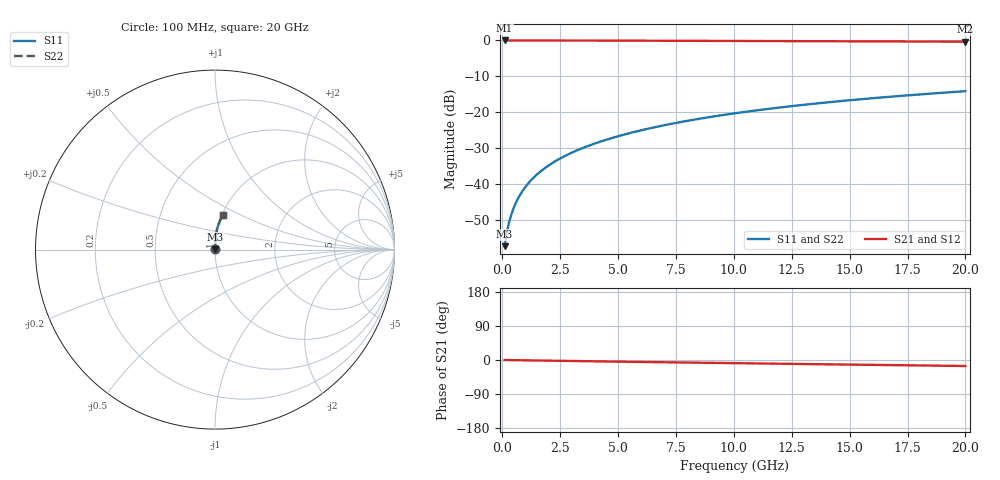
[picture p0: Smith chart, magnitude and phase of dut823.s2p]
! Touchstone file exported from HFSS 2024.1.0
!  File:  C:/UserFiles/LocalFiles/RDL_TSV_Batchsim/temp_RDL_top_823_1779854647.aedt
!  Generated:  12:06:23 PM May 27, 2026
!  Design:  RDL_top
!  Project:  temp_RDL_top_823_1779854647
!  Setup:  Setup1
!  Solution:  Sweep
! Variables:
!  dtsv = 10.80580581um
!  hbump = 3um
!  htsv = 81.91um
!  ldown = 100um
!  lrdl = 162.21um
!  p = 40
!  p1 = 59.29um
!  rhole = 1um
!  t = 450um
!  tdown = 3.915915916um
!  trdl = 3.59um
!  wdown = 15.38538539um
!  wrdl = 20.55um
# GHz S MA R 50.000000
! Terminal data exported
! Port[1] = Box2_T1
! Port[2] = Box2_T2
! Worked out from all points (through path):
!   200 points, 100 MHz to 20 GHz, reference 50 ohm
!   highest |S21| = -0.01 dB at 100 MHz (marker M1); lowest = -0.3 dB at 20 GHz (marker M2)
!   group delay of S21, straight-line fit = 2.18 ps
!   lowest |S11| = -57.2 dB at 100 MHz (marker M3), VSWR 1.00, Z = 50.1 + j0.0958 ohm
!   |S11| at or under -10 dB: start of sweep to end of sweep
!   |S22| runs from -57.2 to -14.1 dB; largest |S21 - S12| = 2.3e-15
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0.1  0.001375 44.1  0.999 -0.1  0.999 -0.1  0.001375 44.1
! Gamma 0 0 0 0
! Port Impedance 50 0 50 0
0.2  0.002153 61.7  0.999 -0.2  0.999 -0.2  0.002153 61.7
0.3  0.003006 69.4  0.9989 -0.3  0.9989 -0.3  0.003006 69.4
0.4  0.003875 73.7  0.9989 -0.4  0.9989 -0.4  0.003875 73.7
0.5  0.00475 76.5  0.9988 -0.5  0.9988 -0.5  0.00475 76.5
0.6  0.005629 78.5  0.9988 -0.5  0.9988 -0.5  0.005629 78.5
0.8  0.007399 81.1  0.9987 -0.7  0.9987 -0.7  0.007399 81.1
1.1  0.01008 83.4  0.9985 -1.0  0.9985 -1.0  0.01008 83.4
1.5  0.01368 85.1  0.9982 -1.3  0.9982 -1.3  0.01368 85.1
1.8  0.0164 85.9  0.998 -1.6  0.998 -1.6  0.0164 85.9
2.1  0.01914 86.5  0.9977 -1.9  0.9977 -1.9  0.01914 86.5
2.7  0.02467 87.3  0.997 -2.4  0.997 -2.4  0.02467 87.3
3.5  0.03214 87.8  0.9959 -3.1  0.9959 -3.1  0.03214 87.8
4.2  0.03878 88.0  0.9948 -3.7  0.9948 -3.7  0.03878 88.0
5  0.04648 88.0  0.9934 -4.4  0.9934 -4.4  0.04648 88.0
5.9  0.05528 87.8  0.9917 -5.1  0.9917 -5.1  0.05528 87.8
6.8  0.06419 87.5  0.9899 -5.8  0.9899 -5.8  0.06419 87.5
8.4  0.08027 86.6  0.9866 -7.1  0.9866 -7.1  0.08027 86.6
10.1  0.09754 85.5  0.983 -8.4  0.983 -8.4  0.09754 85.5
13.4  0.1311 82.9  0.9759 -11.0  0.9759 -11.0  0.1311 82.9
16.7  0.1643 80.2  0.9685 -13.4  0.9685 -13.4  0.1643 80.2
20  0.1967 77.5  0.9607 -15.8  0.9607 -15.8  0.1967 77.5
